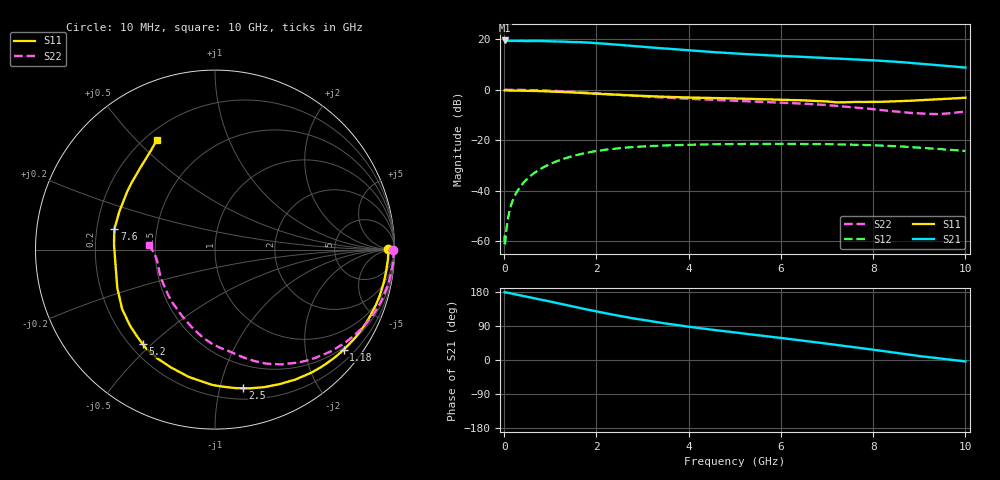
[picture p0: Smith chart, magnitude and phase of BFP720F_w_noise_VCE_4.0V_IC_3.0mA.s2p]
! Infineon Technologies  Discrete & RF Semiconductors
! BFP720F
! VCE =  4.0 V,  IC =  3.0 mA
! Common Emitter S-Parameters:  Jan 2016
# GHz  S  MA  R  50
!  f  S11  S21  S12  S22
! GHz  MAG  ANG  MAG  ANG  MAG  ANG  MAG  ANG
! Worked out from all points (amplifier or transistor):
!   233 points, 10 MHz to 10 GHz, reference 50 ohm
!   highest |S21| = 19.5 dB at 10 MHz (marker M1)
!   |S21| within 3 dB of that: start of sweep to 3.346 GHz
!   unconditionally stable (mu >= 1): 14.95 MHz to 15.02 MHz; 8.641 GHz to end of sweep
!   at 200 MHz: K = 0.08, MSG = 31.3 dB, |S12| = -43.2 dB
!   at 1.74 GHz: K = 0.17, MSG = 21.9 dB, |S12| = -25.2 dB
!   at 10 GHz: K = 1.19, MAG = 13.9 dB, |S12| = -24.2 dB
!   lowest NFmin = 0.40 dB at 450 MHz
!   S11 on the Smith chart (normalised r, x): 10 MHz: 55, +3; 1.18 GHz: 0.45, -2.86; 2.5 GHz: 0.29, -1.18; 5.2 GHz: 0.25, -0.47; 7.6 GHz: 0.27, +0.09; 10 GHz: 0.25, +0.58
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0.01  0.9643 0.1  9.422 179.1  0.0013 -31.0  0.9933 -0.1
0.015  0.9648 -0.3  9.281 178.4  0.0008 4.2  0.9957 -0.6
0.02  0.9654 -0.6  9.141 177.7  0.0009 60.6  0.9981 -1.1
0.05  0.965 -1.6  9.238 178.2  0.0017 72.5  0.9955 -1.1
0.135  0.9638 -4.2  9.238 176.1  0.0047 82.3  0.9957 -2.9
0.34  0.9583 -10.7  9.198 170.9  0.0117 81.0  0.99 -7.4
0.8  0.9367 -25.5  9.18 159.2  0.0274 71.9  0.9693 -17.4
1.18  0.9082 -37.8  8.992 149.4  0.0396 63.5  0.9387 -25.8
1.68  0.8619 -54.4  8.704 136.2  0.0537 52.4  0.8844 -36.7
2.02  0.8292 -65.0  8.329 127.7  0.0615 45.1  0.8441 -43.6
2.5  0.7879 -78.6  7.702 116.5  0.0697 35.5  0.789 -52.4
2.9  0.7595 -88.7  7.195 107.9  0.0744 28.7  0.7471 -58.5
3.4  0.7284 -99.5  6.613 98.3  0.0783 21.2  0.7038 -64.7
4  0.701 -110.4  6.003 87.8  0.0814 13.6  0.6602 -70.3
5.1  0.6662 -126.3  5.151 71.2  0.0841 2.2  0.5972 -78.4
5.2  0.6618 -127.6  5.086 69.8  0.0842 1.2  0.5917 -79.1
6  0.6354 -138.2  4.656 58.1  0.0847 -6.1  0.5546 -85.6
6.8  0.594 -153.9  4.311 46.1  0.0838 -13.3  0.5084 -94.9
7.6  0.5719 168.6  3.967 33.6  0.0814 -20.4  0.445 -108.0
8.4  0.5851 147.2  3.619 20.4  0.0768 -27.5  0.3778 -129.3
9  0.617 132.5  3.289 10.4  0.0712 -32.2  0.3402 -152.9
10  0.6925 117.7  2.742 -3.7  0.0614 -36.3  0.369 175.9
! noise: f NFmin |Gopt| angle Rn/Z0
0.45  0.4  0.62  4  0.22
0.9  0.47  0.62  12  0.22
1.8  0.5  0.6  23  0.17
2.4  0.55  0.59  30  0.16
5.5  0.77  0.44  81  0.11
10  1.13  0.28  -126  0.14
